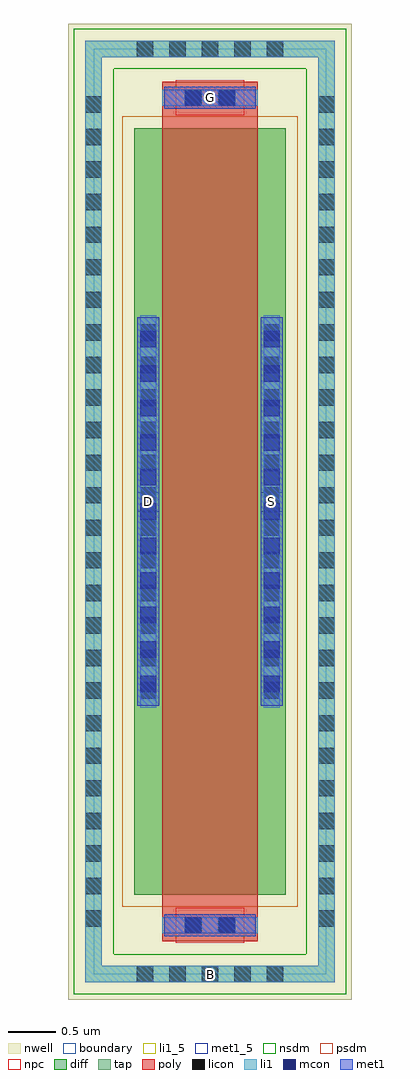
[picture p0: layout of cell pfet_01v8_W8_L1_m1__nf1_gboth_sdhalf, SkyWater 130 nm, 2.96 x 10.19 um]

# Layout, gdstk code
import gdstk
lib = gdstk.Library(unit=1e-6, precision=1e-09)
def R(c, l, rs):  # rectangles x0, y0, x1, y1
    for r in rs: c.add(gdstk.rectangle(r[:2], r[2:], *l))
def A(c, l, x, y, w, h, nx, ny, dx, dy):  # array of equal rectangles
    R(c, l, [(x+i*dx, y+j*dy, x+i*dx+w, y+j*dy+h) for i in range(nx) for j in range(ny)])
nwell = (64, 20)
diff = (65, 20)
tap = (65, 44)
poly = (66, 20)
licon = (66, 44)
li1_5 = (67, 5)
li1 = (67, 20)
mcon = (67, 44)
met1_5 = (68, 5)
met1 = (68, 20)
nsdm = (93, 44)
psdm = (94, 20)
npc = (95, 20)
boundary = (235, 4)

sky130_fd_pr__pfet_01v8_ = lib.new_cell('sky130_fd_pr__pfet_01v8_PVRSS5')
R(sky130_fd_pr__pfet_01v8_, nwell, [(-1.48,-5.095,1.48,5.095)])
R(sky130_fd_pr__pfet_01v8_, diff, [(-0.79,-4,0.79,4)])
R(sky130_fd_pr__pfet_01v8_, tap, [(-1.3,-4.915,1.3,-4.745), (-1.3,-4.745,-1.13,4.745), (1.13,-4.745,1.3,4.745), (-1.3,4.745,1.3,4.915)])
R(sky130_fd_pr__pfet_01v8_, poly, [(-0.5,-4.485,0.5,4.485)])
A(sky130_fd_pr__pfet_01v8_, licon, -0.765, -4.915, 0.17, 0.17, 5, 2, 0.34, 9.66)
A(sky130_fd_pr__pfet_01v8_, licon, -1.3, -4.335, 0.17, 0.17, 1, 26, 0, 0.34)
A(sky130_fd_pr__pfet_01v8_, licon, 1.13, -4.335, 0.17, 0.17, 1, 26, 0, 0.34)
A(sky130_fd_pr__pfet_01v8_, licon, -0.73, -1.955, 0.17, 0.17, 1, 12, 0, 0.34)
A(sky130_fd_pr__pfet_01v8_, licon, 0.56, -1.955, 0.17, 0.17, 1, 12, 0, 0.34)
R(sky130_fd_pr__pfet_01v8_, licon, [(-0.255,-4.405,-0.085,-4.235), (0.085,-4.405,0.255,-4.235), (-0.255,4.235,-0.085,4.405), (0.085,4.235,0.255,4.405)])
R(sky130_fd_pr__pfet_01v8_, li1, [(-1.3,-4.915,1.3,-4.745), (-1.3,-4.745,-1.13,4.745), (1.13,-4.745,1.3,4.745), (-0.5,-4.405,0.5,-4.235), (-0.73,-2.05,-0.56,2.05), (0.56,-2.05,0.73,2.05), (-0.5,4.235,0.5,4.405), (-1.3,4.745,1.3,4.915)])
A(sky130_fd_pr__pfet_01v8_, mcon, -0.73, -1.885, 0.17, 0.17, 1, 11, 0, 0.36)
A(sky130_fd_pr__pfet_01v8_, mcon, 0.56, -1.885, 0.17, 0.17, 1, 11, 0, 0.36)
R(sky130_fd_pr__pfet_01v8_, mcon, [(-0.265,-4.405,-0.095,-4.235), (0.095,-4.405,0.265,-4.235), (-0.265,4.235,-0.095,4.405), (0.095,4.235,0.265,4.405)])
R(sky130_fd_pr__pfet_01v8_, met1, [(-0.48,-4.435,0.48,-4.205), (-0.76,-2.03,-0.53,2.03), (0.53,-2.03,0.76,2.03), (-0.48,4.205,0.48,4.435)])
R(sky130_fd_pr__pfet_01v8_, nsdm, [(-1.425,-5.04,1.425,-4.62), (-1.425,-4.62,-1.005,4.62), (1.005,-4.62,1.425,4.62), (-1.425,4.62,1.425,5.04)])
R(sky130_fd_pr__pfet_01v8_, psdm, [(-0.915,-4.125,0.915,4.125)])
R(sky130_fd_pr__pfet_01v8_, npc, [(-0.355,-4.505,0.355,-4.135), (-0.355,4.135,0.355,4.505)])
R(sky130_fd_pr__pfet_01v8_, boundary, [(-1.215,-4.83,1.215,4.83)])
sky130_fd_pr__pfet_01v8_.add(gdstk.Label('B', (0,-4.83), layer=67, texttype=5))
sky130_fd_pr__pfet_01v8_.add(gdstk.Label('D', (-0.645,0), layer=67, texttype=5))
sky130_fd_pr__pfet_01v8_.add(gdstk.Label('S', (0.645,0), layer=67, texttype=5))
sky130_fd_pr__pfet_01v8_.add(gdstk.Label('G', (0,4.32), layer=67, texttype=5))

pfet_01v8_w8_l1_m1__nf1_ = lib.new_cell('pfet_01v8_W8_L1_m1__nf1_gboth_sdhalf')
R(pfet_01v8_w8_l1_m1__nf1_, li1_5, [(1.13,-0.085,1.3,0.085)])
R(pfet_01v8_w8_l1_m1__nf1_, li1, [(1.13,-0.085,1.3,0.085)])
R(pfet_01v8_w8_l1_m1__nf1_, met1_5, [(0.455,4.83,0.685,5.03), (1.745,4.83,1.975,5.03), (0.735,9.035,1.695,9.265)])
R(pfet_01v8_w8_l1_m1__nf1_, met1, [(0.455,4.83,0.685,5.03), (1.745,4.83,1.975,5.03), (0.735,9.035,1.695,9.265)])
pfet_01v8_w8_l1_m1__nf1_.add(gdstk.Reference(sky130_fd_pr__pfet_01v8_, (1.215,4.83)))
pfet_01v8_w8_l1_m1__nf1_.add(gdstk.Label('D', (0.57,4.93), layer=68, texttype=5))
pfet_01v8_w8_l1_m1__nf1_.add(gdstk.Label('S', (1.86,4.93), layer=68, texttype=5))
pfet_01v8_w8_l1_m1__nf1_.add(gdstk.Label('G', (1.215,9.15), layer=68, texttype=5))
pfet_01v8_w8_l1_m1__nf1_.add(gdstk.Label('B', (1.215,0), layer=67, texttype=5))

lib.write_gds('pfet_01v8_W8_L1_m1__nf1_gboth_sdhalf.gds')
